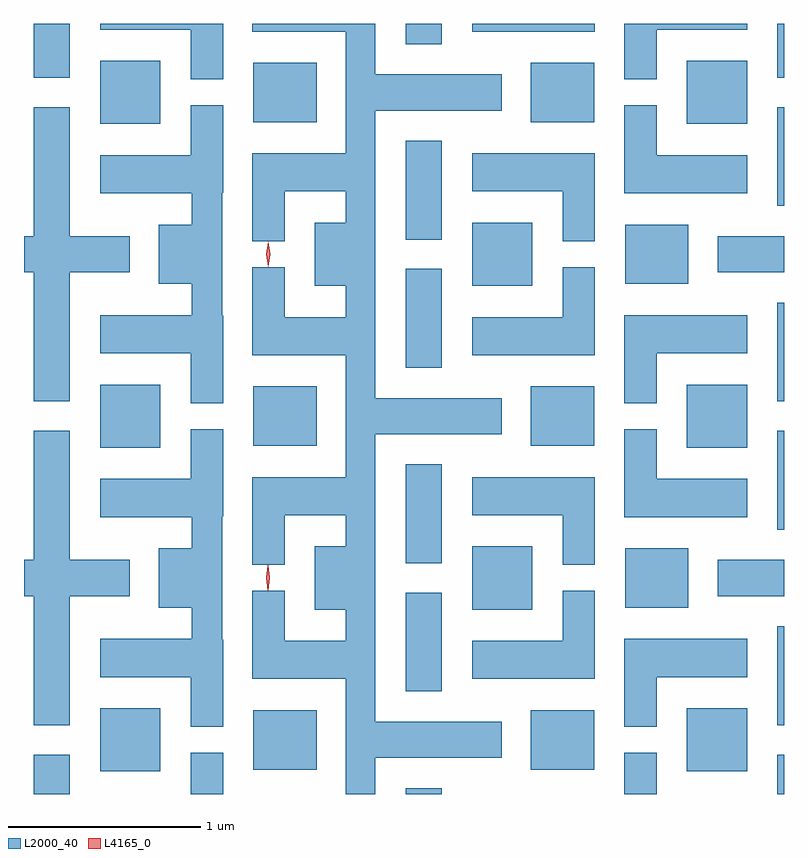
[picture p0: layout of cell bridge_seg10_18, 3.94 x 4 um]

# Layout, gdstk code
import gdstk
lib = gdstk.Library(unit=1e-6, precision=1e-09)
def R(c, l, rs):  # rectangles x0, y0, x1, y1
    for r in rs: c.add(gdstk.rectangle(r[:2], r[2:], *l))
def A(c, l, x, y, w, h, nx, ny, dx, dy):  # array of equal rectangles
    R(c, l, [(x+i*dx, y+j*dy, x+i*dx+w, y+j*dy+h) for i in range(nx) for j in range(ny)])
def P(c, l, *ps):  # polygons
    for p in ps: c.add(gdstk.Polygon(p, *l))
L2000_40 = (2000, 40)
L4165_0 = (4165, 0)

bridge_seg10_18 = lib.new_cell('bridge_seg10_18')
A(bridge_seg10_18, L2000_40, 1786.791, 2163.126, 0.313, 0.328, 1, 3, 0, 1.68)
A(bridge_seg10_18, L2000_40, 1789.836, 2163.126, 0.313, 0.328, 1, 3, 0, 1.68)
A(bridge_seg10_18, L2000_40, 1787.586, 2163.136, 0.328, 0.308, 1, 3, 0, 1.68)
A(bridge_seg10_18, L2000_40, 1789.026, 2163.136, 0.328, 0.308, 1, 3, 0, 1.68)
R(bridge_seg10_18, L2000_40, [(1786.446,2163.007,1786.634,2163.214), (1787.261,2163.007,1787.429,2163.223), (1788.376,2163.007,1788.564,2163.039), (1789.511,2163.007,1789.679,2163.223), (1790.306,2163.007,1790.34,2163.214), (1790.306,2163.366,1790.34,2163.879), (1788.376,2163.541,1788.564,2164.054), (1788.721,2163.966,1789.034,2164.294), (1789.516,2163.976,1789.844,2164.284), (1789.996,2164.036,1790.34,2164.224), (1788.376,2164.206,1788.564,2164.719), (1790.306,2164.381,1790.34,2164.894), (1790.306,2165.046,1790.34,2165.559), (1788.376,2165.221,1788.564,2165.734), (1788.721,2165.646,1789.034,2165.974), (1789.516,2165.656,1789.844,2165.964), (1789.996,2165.716,1790.34,2165.904), (1788.376,2165.886,1788.564,2166.399), (1790.306,2166.061,1790.34,2166.574), (1786.446,2166.726,1786.634,2167.007), (1790.306,2166.726,1790.34,2167.007), (1788.376,2166.901,1788.564,2167.007), (1788.721,2166.966,1789.359,2167.007)])
P(bridge_seg10_18, L2000_40, [(1789.679,2166.976),(1790.149,2166.976),(1790.149,2167.007),(1789.511,2167.007),(1789.511,2166.718),(1789.679,2166.718)],
  [(1788.219,2163.196),(1788.874,2163.196),(1788.874,2163.384),(1788.219,2163.384),(1788.219,2164.876),(1788.874,2164.876),(1788.874,2165.064),(1788.219,2165.064),(1788.219,2166.556),(1788.874,2166.556),(1788.874,2166.744),(1788.219,2166.744),(1788.219,2167.007),(1787.581,2167.007),(1787.581,2166.966),(1788.066,2166.966),(1788.066,2166.334),(1787.581,2166.334),(1787.581,2165.878),(1787.749,2165.878),(1787.749,2166.136),(1788.066,2166.136),(1788.066,2165.974),(1787.906,2165.974),(1787.906,2165.646),(1788.066,2165.646),(1788.066,2165.484),(1787.749,2165.484),(1787.749,2165.743),(1787.581,2165.743),(1787.581,2165.286),(1788.066,2165.286),(1788.066,2164.654),(1787.581,2164.654),(1787.581,2164.198),(1787.749,2164.198),(1787.749,2164.456),(1788.066,2164.456),(1788.066,2164.294),(1787.906,2164.294),(1787.906,2163.966),(1788.066,2163.966),(1788.066,2163.804),(1787.749,2163.804),(1787.749,2164.063),(1787.581,2164.063),(1787.581,2163.606),(1788.066,2163.606),(1788.066,2163.007),(1788.219,2163.007)],
  [(1787.429,2167.007),(1786.791,2167.007),(1786.791,2166.976),(1787.261,2166.976),(1787.261,2166.718),(1787.429,2166.718)],
  [(1790.149,2166.324),(1789.679,2166.324),(1789.679,2166.583),(1789.511,2166.583),(1789.511,2166.126),(1790.149,2166.126)],
  [(1787.429,2165.49),(1787.424,2165.49),(1787.424,2166.13),(1787.429,2166.13),(1787.429,2166.583),(1787.261,2166.583),(1787.261,2166.324),(1786.791,2166.324),(1786.791,2166.126),(1787.266,2166.126),(1787.266,2165.964),(1787.096,2165.964),(1787.096,2165.656),(1787.266,2165.656),(1787.266,2165.494),(1786.791,2165.494),(1786.791,2165.296),(1787.261,2165.296),(1787.261,2165.038),(1787.429,2165.038)],
  [(1786.634,2165.716),(1786.944,2165.716),(1786.944,2165.904),(1786.634,2165.904),(1786.634,2166.574),(1786.446,2166.574),(1786.446,2165.904),(1786.396,2165.904),(1786.396,2165.716),(1786.446,2165.716),(1786.446,2165.046),(1786.634,2165.046)],
  [(1789.359,2166.334),(1788.721,2166.334),(1788.721,2166.136),(1789.191,2166.136),(1789.191,2165.878),(1789.359,2165.878)],
  [(1789.359,2165.743),(1789.191,2165.743),(1789.191,2165.484),(1788.721,2165.484),(1788.721,2165.286),(1789.359,2165.286)],
  [(1789.679,2165.296),(1790.149,2165.296),(1790.149,2165.494),(1789.511,2165.494),(1789.511,2165.038),(1789.679,2165.038)],
  [(1787.429,2163.81),(1787.424,2163.81),(1787.424,2164.45),(1787.429,2164.45),(1787.429,2164.903),(1787.261,2164.903),(1787.261,2164.644),(1786.791,2164.644),(1786.791,2164.446),(1787.266,2164.446),(1787.266,2164.284),(1787.096,2164.284),(1787.096,2163.976),(1787.266,2163.976),(1787.266,2163.814),(1786.791,2163.814),(1786.791,2163.616),(1787.261,2163.616),(1787.261,2163.358),(1787.429,2163.358)],
  [(1790.149,2164.644),(1789.679,2164.644),(1789.679,2164.903),(1789.511,2164.903),(1789.511,2164.446),(1790.149,2164.446)],
  [(1786.634,2164.036),(1786.944,2164.036),(1786.944,2164.224),(1786.634,2164.224),(1786.634,2164.894),(1786.446,2164.894),(1786.446,2164.224),(1786.396,2164.224),(1786.396,2164.036),(1786.446,2164.036),(1786.446,2163.366),(1786.634,2163.366)],
  [(1789.359,2164.654),(1788.721,2164.654),(1788.721,2164.456),(1789.191,2164.456),(1789.191,2164.198),(1789.359,2164.198)],
  [(1789.359,2164.063),(1789.191,2164.063),(1789.191,2163.804),(1788.721,2163.804),(1788.721,2163.606),(1789.359,2163.606)],
  [(1789.679,2163.616),(1790.149,2163.616),(1790.149,2163.814),(1789.511,2163.814),(1789.511,2163.358),(1789.679,2163.358)])
P(bridge_seg10_18, L4165_0, [(1787.662,2164.064),(1787.662,2164.065),(1787.652,2164.13),(1787.662,2164.195),(1787.662,2164.196),(1787.663,2164.195),(1787.672,2164.13),(1787.663,2164.065)],
  [(1787.664,2165.744),(1787.663,2165.745),(1787.654,2165.81),(1787.663,2165.875),(1787.664,2165.876),(1787.664,2165.875),(1787.674,2165.81),(1787.664,2165.745)])

lib.write_gds('bridge_seg10_18.gds')
